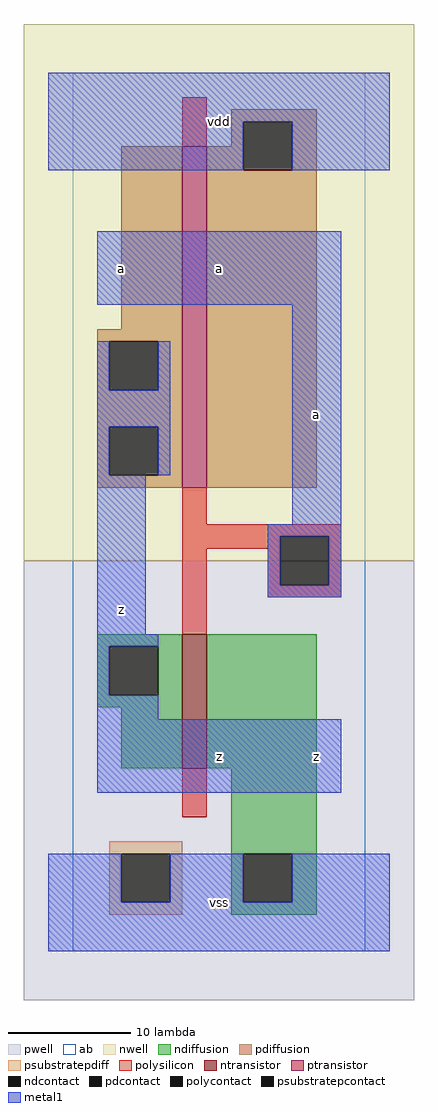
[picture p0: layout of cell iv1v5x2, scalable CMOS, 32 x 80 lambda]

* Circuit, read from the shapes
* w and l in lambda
.subckt iv1v5x2 a vdd vss z
M1 vss a z vss nfet w=11 l=2
M2 vdd a z n1 pfet w=28 l=2
.ends

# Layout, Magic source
magic
tech scmos
<< ab >>
rect 0 0 24 72
<< pwell >>
rect -4 -4 28 32
<< nwell >>
rect -4 32 28 76
<< polysilicon >>
rect 9 66 11 70
rect 9 35 11 38
rect 9 34 22 35
rect 9 33 17 34
rect 9 26 11 33
rect 16 30 17 33
rect 21 30 22 34
rect 16 29 22 30
rect 9 11 11 15
<< ndiffusion >>
rect 2 25 9 26
rect 2 21 3 25
rect 7 21 9 25
rect 2 20 9 21
rect 4 15 9 20
rect 11 15 20 26
rect 13 8 20 15
rect 13 4 14 8
rect 18 4 20 8
rect 13 3 20 4
<< pdiffusion >>
rect 13 68 20 69
rect 13 66 14 68
rect 4 51 9 66
rect 2 50 9 51
rect 2 46 3 50
rect 7 46 9 50
rect 2 43 9 46
rect 2 39 3 43
rect 7 39 9 43
rect 2 38 9 39
rect 11 64 14 66
rect 18 64 20 68
rect 11 38 20 64
<< metal1 >>
rect -2 68 26 72
rect -2 64 14 68
rect 18 64 26 68
rect 2 53 22 59
rect 2 46 3 50
rect 7 46 8 50
rect 2 43 8 46
rect 2 39 3 43
rect 7 39 8 43
rect 2 26 6 39
rect 18 35 22 53
rect 16 34 22 35
rect 16 30 17 34
rect 21 30 22 34
rect 16 29 22 30
rect 2 25 7 26
rect 2 21 3 25
rect 2 19 7 21
rect 2 13 22 19
rect -2 4 4 8
rect 8 4 14 8
rect 18 4 26 8
rect -2 0 26 4
<< ntransistor >>
rect 9 15 11 26
<< ptransistor >>
rect 9 38 11 66
<< polycontact >>
rect 17 30 21 34
<< ndcontact >>
rect 3 21 7 25
rect 14 4 18 8
<< pdcontact >>
rect 3 46 7 50
rect 3 39 7 43
rect 14 64 18 68
<< psubstratepcontact >>
rect 4 4 8 8
<< psubstratepdiff >>
rect 3 8 9 9
rect 3 4 4 8
rect 8 4 9 8
rect 3 3 9 4
<< labels >>
rlabel metal1 4 28 4 28 6 z
rlabel metal1 4 56 4 56 6 a
rlabel metal1 12 4 12 4 6 vss
rlabel metal1 12 16 12 16 6 z
rlabel metal1 12 56 12 56 6 a
rlabel metal1 12 68 12 68 6 vdd
rlabel metal1 20 16 20 16 6 z
rlabel metal1 20 44 20 44 6 a
<< end >>
